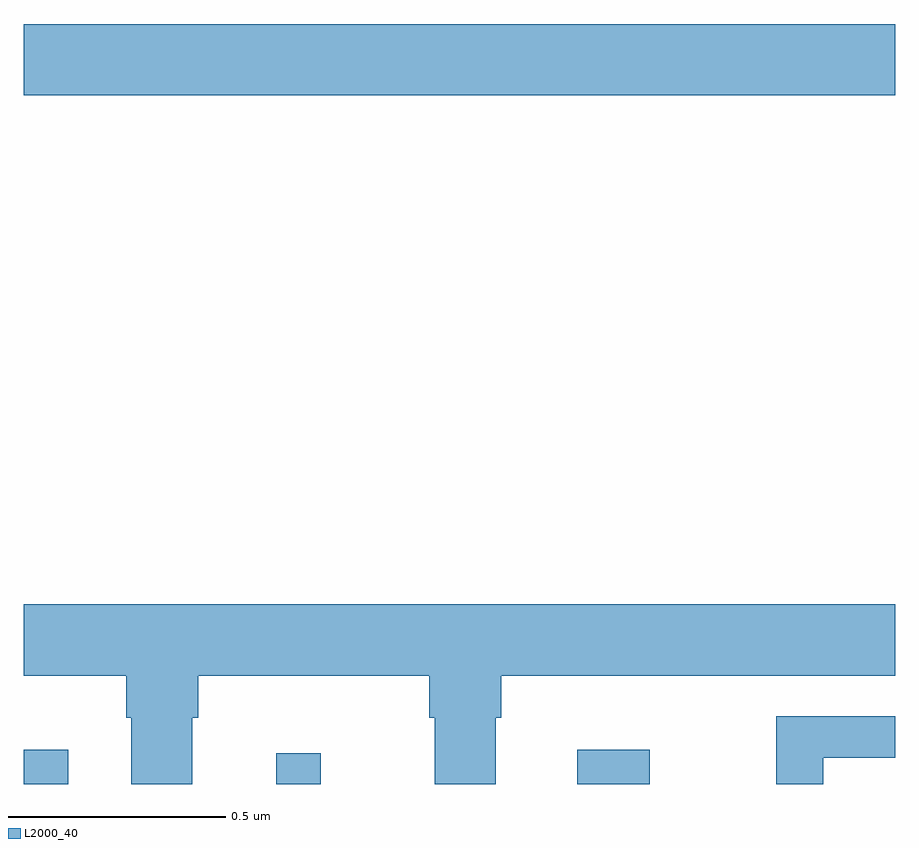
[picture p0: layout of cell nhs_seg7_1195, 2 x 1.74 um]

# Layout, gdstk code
import gdstk
lib = gdstk.Library(unit=1e-6, precision=1e-09)
def R(c, l, rs):  # rectangles x0, y0, x1, y1
    for r in rs: c.add(gdstk.rectangle(r[:2], r[2:], *l))
def P(c, l, *ps):  # polygons
    for p in ps: c.add(gdstk.Polygon(p, *l))
L2000_40 = (2000, 40)

nhs_seg7_1195 = lib.new_cell('nhs_seg7_1195')
R(nhs_seg7_1195, L2000_40, [(127,1035,127.102,1035.079), (127.58,1035,127.682,1035.07), (128.27,1035,128.436,1035.079), (127,1036.58,129,1036.744)])
P(nhs_seg7_1195, L2000_40, [(127.387,1035.152),(127.4,1035.152),(127.4,1035.248),(127.931,1035.248),(127.931,1035.152),(127.943,1035.152),(127.943,1035),(128.083,1035),(128.083,1035.152),(128.096,1035.152),(128.096,1035.248),(129,1035.248),(129,1035.412),(127,1035.412),(127,1035.248),(127.235,1035.248),(127.235,1035.152),(127.247,1035.152),(127.247,1035),(127.387,1035)],
  [(128.835,1035.06),(129,1035.06),(129,1035.156),(128.727,1035.156),(128.727,1035),(128.835,1035)])

lib.write_gds('nhs_seg7_1195.gds')
